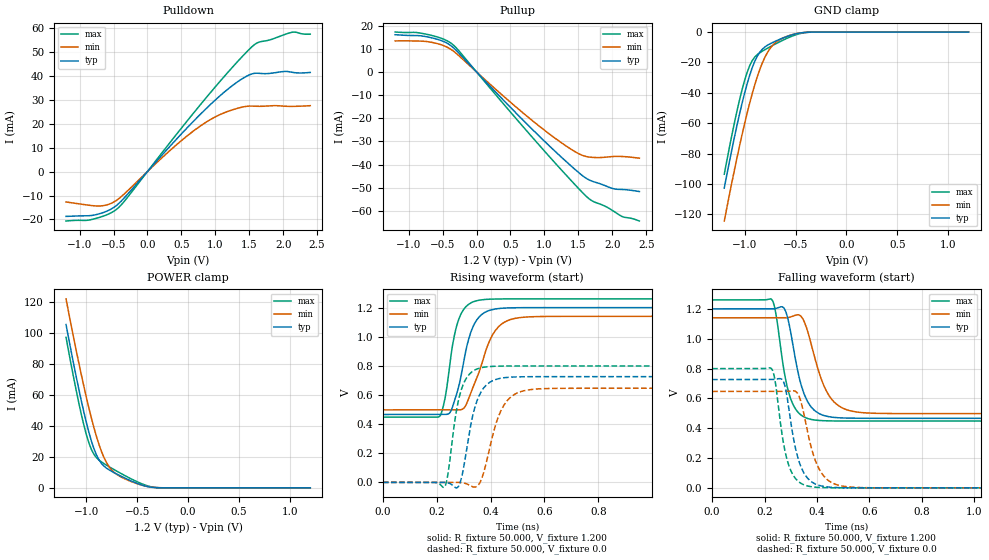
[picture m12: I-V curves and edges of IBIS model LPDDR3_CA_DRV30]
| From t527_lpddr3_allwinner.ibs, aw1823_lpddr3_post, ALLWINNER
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|   Model LPDDR3_CA_DRV30
[Model] LPDDR3_CA_DRV30
Model_type 3-state
Polarity   Non-Inverting
Enable   Active-Low
C_comp   1.467pF   1.389pF   1.573pF
C_comp_pullup   0.767pF   0.665pF   0.844pF
C_comp_pulldown   0.674pF   0.649pF   0.678pF
[Temperature Range]   25.000   0.125k   -40.000
[Voltage Range]   1.200V   1.140V   1.260V
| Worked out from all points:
|   slope of the pulldown table from 0 to 0.18 V, typ, clamps not added: 31.2 ohm
|   slope of the pullup table from 0 to 0.18 V, typ, clamps not added: 32.3 ohm
|   GND clamp passes 1 mA (typ) near -0.48 V on its own axis
|   POWER clamp passes 1 mA (typ) near -0.41 V on its own axis
|   rising waveform, R_fixture 50.000, V_fixture 1.200: 20-80 % time 56.4ps typ, 78ps min, 43.7ps max; typ from 0.466 V to 1.2 V
|   rising waveform, R_fixture 50.000, V_fixture 0.0: 20-80 % time 50ps typ, 62.4ps min, 42.5ps max; typ from 0 V to 0.726 V
|   falling waveform, R_fixture 50.000, V_fixture 1.200: 20-80 % time 56.1ps typ, 72.8ps min, 47.6ps max; typ from 1.2 V to 0.466 V
|   falling waveform, R_fixture 50.000, V_fixture 0.0: 20-80 % time 49.5ps typ, 59.9ps min, 44.3ps max; typ from 0.726 V to 0 V
[Pulldown]
|Voltage   I(typ)   I(min)   I(max)
-1.2V     -18.71mA   -12.68mA   -20.64mA
-867mV    -18.44mA   -14.03mA   -20.28mA
-682mV    -17.39mA   -14.33mA   -18.9mA
-534mV    -15.63mA   -13.26mA   -17.19mA
-423mV    -13.33mA   -11.32mA   -14.97mA
317mV     10.09mA    8.406mA    11.55mA
724mV     22.3mA     17.88mA    25.95mA
1.057V    31.31mA    23.61mA    37.22mA
1.427V    39.24mA    27.06mA    48.87mA
1.649V    40.98mA    27.22mA    54.05mA
2.13V     41.44mA    27.19mA    58.11mA
2.4V      41.35mA    27.49mA    57.33mA
[Pullup]
|Voltage   I(typ)   I(min)   I(max)
-1.2V     16.1mA     13.41mA    17.26mA
-708mV    15.05mA    13.04mA    16.11mA
-523mV    13.59mA    11.78mA    14.59mA
-375mV    11.31mA    9.717mA    12.43mA
-264mV    8.233mA    7.117mA    9.239mA
772mV     -23.35mA   -19.81mA   -26.56mA
1.179V    -34.88mA   -29.09mA   -40.02mA
1.475V    -42.72mA   -34.84mA   -49.46mA
1.697V    -47.14mA   -36.88mA   -55.59mA
2.03V     -50.54mA   -36.5mA    -60.37mA
2.141V    -50.77mA   -36.52mA   -62.41mA
2.4V      -51.67mA   -37.26mA   -64.41mA
[GND_clamp]
|Voltage   I(typ)   I(min)   I(max)
-1.2V     -102.7mA   -124.4mA   -93.59mA
-1.125V   -77.24mA   -98.95mA   -67.74mA
-1.05V    -53.97mA   -75.04mA   -44.66mA
-1V       -40.19mA   -60.27mA   -31.8mA
-950mV    -28.4mA    -46.71mA   -22.12mA
-900mV    -19.25mA   -34.66mA   -16.44mA
-825mV    -11.25mA   -20.2mA    -12.55mA
-775mV    -8.684mA   -13.39mA   -10.65mA
-700mV    -6.13mA    -7.175mA   -7.957mA
-550mV    -2.174mA   -2.06mA    -3.161mA
-375mV    -119.5uA   -151.7uA   -195.8uA
1.2V      0A         0A         0A
[POWER_clamp]
|Voltage   I(typ)   I(min)   I(max)
-1.2V     105.6mA    122.2mA    97.33mA
-1.075V   63.95mA    80.94mA    55.07mA
-1.025V   49.04mA    65.7mA     40.61mA
-975mV    35.84mA    51.51mA    28.98mA
-950mV    30.13mA    44.91mA    24.7mA
-900mV    21.12mA    32.98mA    19.42mA
-850mV    15.64mA    23.2mA     16.66mA
-800mV    12.63mA    16.05mA    14.58mA
-725mV    9.709mA    9.877mA    11.69mA
-525mV    3.493mA    3.222mA    4.681mA
-325mV    158.9uA    254.9uA    258.2uA
1.2V      0A         0A         0A
[Ramp]
| variable   typ   min   max
dV/dt_r   0.436/50.119p   0.388/63.003p   0.480/42.714p
dV/dt_f   0.440/56.115p   0.385/73.427p   0.487/47.731p
R_load = 50.000
[Rising Waveform]
R_fixture= 50.000
V_fixture= 1.200
V_fixture_min= 1.140
V_fixture_max= 1.260
|time   V(typ)   V(min)   V(max)
0s        466.2mV    497.7mV    447.9mV
211ps     466.5mV    498mV      454.5mV
230ps     466.2mV    498mV      571.1mV
248ps     477.2mV    498mV      804.2mV
280ps     647.6mV    497.1mV    1.111V
322ps     1.006V     593.3mV    1.227V
365ps     1.15V      800.5mV    1.253V
426ps     1.193V     1.062V     1.259V
528ps     1.2V       1.135V     1.26V
3ns       1.2V       1.14V      1.26V
[Rising Waveform]
R_fixture= 50.000
V_fixture= 0.0
V_fixture_min= 0.0
V_fixture_max= 0.0
|time   V(typ)   V(min)   V(max)
0s        687.9nV    9.817uV    162.3nV
230ps     -63.14uV   1.58uV     -28.44mV
278ps     -33.76mV   318uV      540.8mV
294ps     48.41mV    -2.38mV    651.8mV
338ps     491.8mV    -32.14mV   768.2mV
377ps     654.4mV    85.91mV    791.5mV
417ps     705.3mV    386mV      797.4mV
448ps     718.1mV    525.7mV    798.7mV
548ps     725.7mV    637mV      799.4mV
3ns       726.1mV    646.3mV    799.4mV
[Falling Waveform]
R_fixture= 50.000
V_fixture= 1.200
V_fixture_min= 1.140
V_fixture_max= 1.260
|time   V(typ)   V(min)   V(max)
0s        1.2V       1.14V      1.26V
227ps     1.2V       1.14V      1.263V
244ps     1.203V     1.14V      1.16V
273ps     1.207V     1.14V      798.4mV
300ps     1.041V     1.146V     595.7mV
339ps     693.1mV    1.15V      488.1mV
387ps     524.2mV    902.2mV    455.8mV
456ps     474.1mV    593.6mV    448.7mV
571ps     466.5mV    504.5mV    447.9mV
3ns       466.2mV    497.7mV    447.9mV
[Falling Waveform]
R_fixture= 50.000
V_fixture= 0.0
V_fixture_min= 0.0
V_fixture_max= 0.0
|time   V(typ)   V(min)   V(max)
0s        726.1mV    646.3mV    799.4mV
226ps     725.9mV    646.2mV    800.4mV
239ps     727.2mV    646.2mV    730.4mV
267ps     726.3mV    646mV      354.9mV
293ps     526.4mV    648.7mV    148.1mV
329ps     190.3mV    624.8mV    42.45mV
377ps     43.19mV    277.2mV    7.818mV
436ps     6.768mV    60.04mV    1.017mV
541ps     246.2uV    3.547mV    24.53uV
3ns       689.8nV    9.802uV    165.5nV
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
